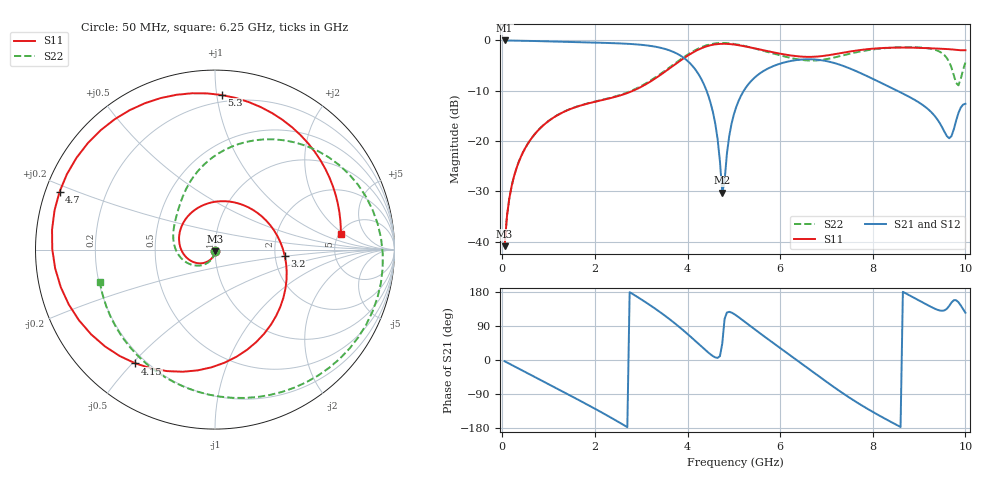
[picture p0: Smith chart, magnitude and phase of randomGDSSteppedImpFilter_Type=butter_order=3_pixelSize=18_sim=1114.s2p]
! freq	dB(S11)	phase(S11)	dB(S12)	phase(S12)
!  dB(S21)	phase(S21)	dB(S22)	phase(S22)
!S-par simulation data
#  GHz  S  DB  R 50
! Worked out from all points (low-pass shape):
!   200 points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, 50 MHz to 10 GHz, reference 50 ohm
!   highest |S21| = -0.01 dB at 50 MHz (marker M1); lowest = -30.3 dB at 4.75 GHz (marker M2)
!   |S21| within 3 dB of the highest: start of sweep to 3.845 GHz
!   lowest |S11| = -40.9 dB at 50 MHz (marker M3), VSWR 1.02, Z = 50 - j0.901 ohm
!   |S11| at or under -10 dB: start of sweep to 2.824 GHz
!   |S22| runs from -40.9 to -0.5 dB; largest |S21 - S12| = 0
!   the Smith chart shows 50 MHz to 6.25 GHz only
!   S11 on the Smith chart (normalised r, x): 50 MHz: 1.00, -0.02; 3.2 GHz: 2.26, -0.19; 4.15 GHz: 0.16, -0.51; 4.7 GHz: 0.04, +0.18; 5.3 GHz: 0.15, +1.03; 6.25 GHz: 5.20, +1.76
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0.05  -40.90 -91.2  -0.01 -3.3  -0.01 -3.3  -40.89 -90.8
0.2  -29.03 -103.5  -0.03 -12.9  -0.03 -12.9  -29.02 -101.5
0.5  -21.33 -125.0  -0.08 -32.0  -0.08 -32.0  -21.33 -119.8
1.75  -12.78 142.0  -0.38 -112.1  -0.38 -112.1  -12.75 172.2
2.55  -10.93 67.7  -0.60 -166.4  -0.60 -166.4  -10.82 137.8
3.2  -8.17 -5.1  -1.09 144.0  -1.09 144.0  -7.99 110.8
3.4  -6.96 -29.0  -1.42 127.0  -1.42 127.0  -6.76 100.3
4.15  -2.23 -125.0  -5.56 52.3  -5.56 52.3  -2.01 43.9
4.5  -0.95 -173.3  -12.50 14.6  -12.50 14.6  -0.75 9.1
4.7  -0.69 159.6  -24.07 10.3  -24.07 10.3  -0.51 -11.4
4.75  -0.67 153.0  -30.26 43.3  -30.26 43.3  -0.50 -16.4
5.05  -0.87 115.5  -13.27 117.7  -13.27 117.7  -0.77 -46.0
5.3  -1.29 87.5  -8.87 94.9  -8.87 94.9  -1.25 -69.4
6.25  -3.02 6.9  -4.05 9.5  -4.05 9.5  -3.53 -164.2
6.7  -3.26 -19.2  -3.77 -30.7  -3.77 -30.7  -4.01 138.8
7.3  -2.54 -51.0  -4.87 -83.3  -4.87 -83.3  -3.10 61.8
7.8  -1.82 -80.5  -6.77 -122.6  -6.77 -122.6  -2.08 11.5
8.35  -1.46 -116.3  -9.19 -160.6  -9.19 -160.6  -1.48 -30.1
9.2  -1.54 173.4  -13.71 143.9  -13.71 143.9  -1.57 -86.4
9.65  -1.74 120.3  -19.45 142.7  -19.45 142.7  -4.30 -149.6
9.85  -1.92 93.2  -14.42 152.5  -14.42 152.5  -8.92 95.7
10  -1.95 73.1  -12.59 124.7  -12.59 124.7  -4.40 4.9
